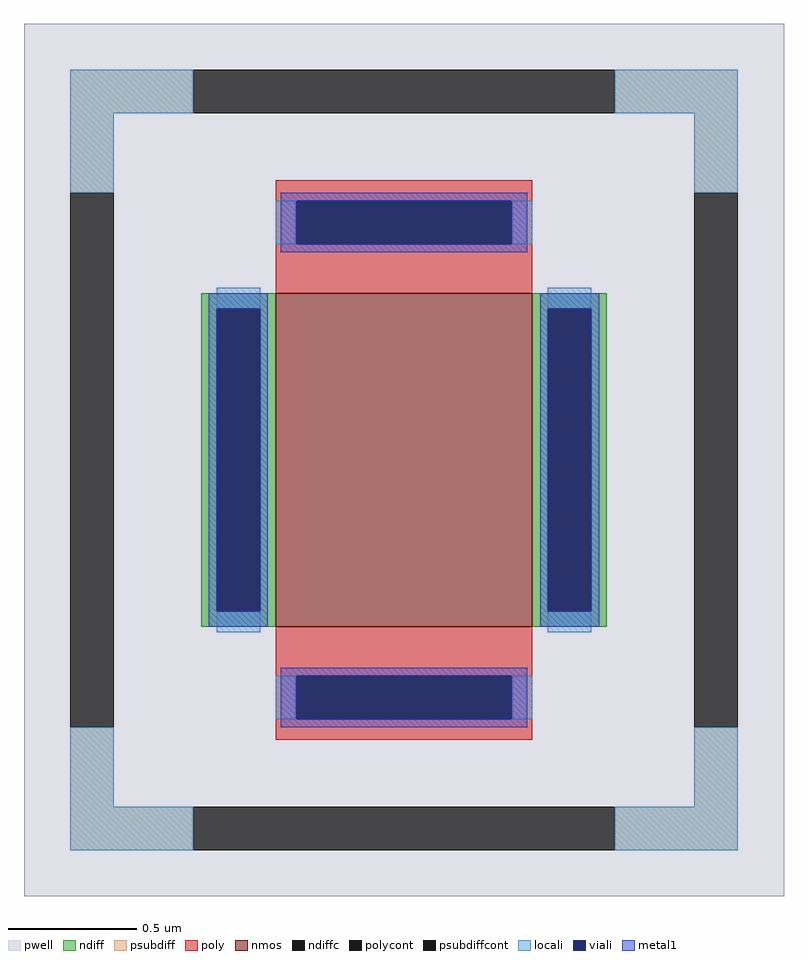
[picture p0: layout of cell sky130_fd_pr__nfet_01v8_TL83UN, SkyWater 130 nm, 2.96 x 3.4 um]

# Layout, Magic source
magic
tech sky130A
<< pwell >>
rect -148 -170 148 170
<< nmos >>
rect -50 -65 50 65
<< ndiff >>
rect -79 59 -50 65
rect -79 -59 -73 59
rect -56 -59 -50 59
rect -79 -65 -50 -59
rect 50 59 79 65
rect 50 -59 56 59
rect 73 -59 79 59
rect 50 -65 79 -59
<< ndiffc >>
rect -73 -59 -56 59
rect 56 -59 73 59
<< psubdiff >>
rect -130 135 -82 152
rect 82 135 130 152
rect -130 104 -113 135
rect 113 104 130 135
rect -130 -135 -113 -104
rect 113 -135 130 -104
rect -130 -152 -82 -135
rect 82 -152 130 -135
<< psubdiffcont >>
rect -82 135 82 152
rect -130 -104 -113 104
rect 113 -104 130 104
rect -82 -152 82 -135
<< poly >>
rect -50 101 50 109
rect -50 84 -42 101
rect 42 84 50 101
rect -50 65 50 84
rect -50 -84 50 -65
rect -50 -101 -42 -84
rect 42 -101 50 -84
rect -50 -109 50 -101
<< polycont >>
rect -42 84 42 101
rect -42 -101 42 -84
<< locali >>
rect -130 135 -82 152
rect 82 135 130 152
rect -130 104 -113 135
rect 113 104 130 135
rect -50 84 -42 101
rect 42 84 50 101
rect -73 59 -56 67
rect -73 -67 -56 -59
rect 56 59 73 67
rect 56 -67 73 -59
rect -50 -101 -42 -84
rect 42 -101 50 -84
rect -130 -135 -113 -104
rect 113 -135 130 -104
rect -130 -152 -82 -135
rect 82 -152 130 -135
<< viali >>
rect -42 84 42 101
rect -73 -59 -56 59
rect 56 -59 73 59
rect -42 -101 42 -84
<< metal1 >>
rect -48 101 48 104
rect -48 84 -42 101
rect 42 84 48 101
rect -48 81 48 84
rect -76 59 -53 65
rect -76 -59 -73 59
rect -56 -59 -53 59
rect -76 -65 -53 -59
rect 53 59 76 65
rect 53 -59 56 59
rect 73 -59 76 59
rect 53 -65 76 -59
rect -48 -84 48 -81
rect -48 -101 -42 -84
rect 42 -101 48 -84
rect -48 -104 48 -101
<< properties >>
string FIXED_BBOX -121 -143 121 143
string gencell sky130_fd_pr__nfet_01v8
string library sky130
string parameters w 1.3 l 1 m 1 nf 1 diffcov 100 polycov 100 guard 1 glc 1 grc 1 gtc 1 gbc 1 tbcov 100 rlcov 100 topc 1 botc 1 poverlap 0 doverlap 1 lmin 0.15 wmin 0.42 compatible {sky130_fd_pr__nfet_01v8 sky130_fd_pr__nfet_01v8_lvt  sky130_fd_bs_flash__special_sonosfet_star  sky130_fd_pr__nfet_g5v0d10v5 sky130_fd_pr__nfet_05v0_nvt  sky130_fd_pr__nfet_03v3_nvt} full_metal 1 viasrc 100 viadrn 100 viagate 100 viagb 0 viagr 0 viagl 0 viagt 0
<< end >>
